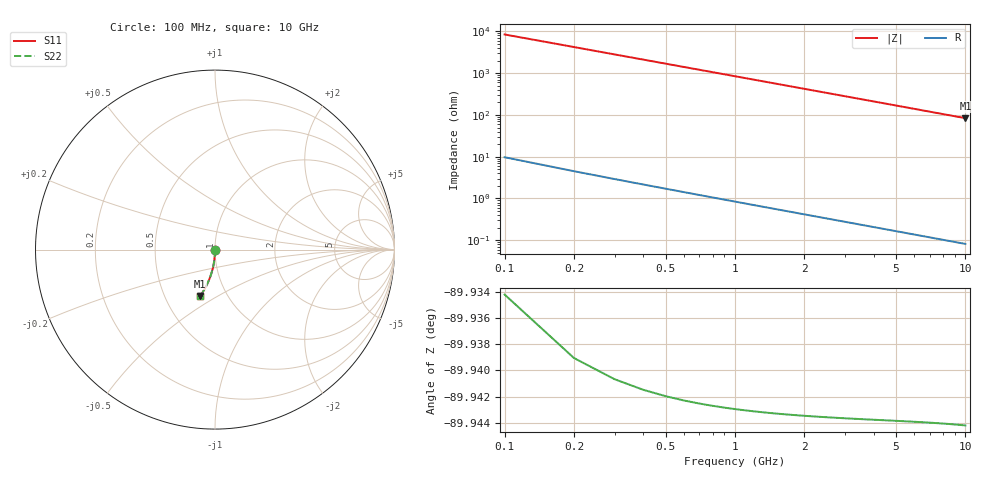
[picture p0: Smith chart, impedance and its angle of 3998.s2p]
# Hz S RI R 50.00
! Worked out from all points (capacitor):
!   100 points, 100 MHz to 10 GHz, reference 50 ohm
!   read as one part in shunt: C = 188 fF near 100 MHz
!   lowest |Z| = 83.8 ohm at 10 GHz (marker M1)
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1e8  2.36e-05 -0.00279  1 -0.00312  1 -0.00312  2.36e-05 -0.00279
2e8  -5.14e-06 -0.00558  0.9999 -0.00623  0.9999 -0.00623  -5.14e-06 -0.00558
3e8  -5.13e-05 -0.00837  0.9999 -0.00935  0.9999 -0.00935  -5.13e-05 -0.00837
4e8  -0.000115 -0.0112  0.9998 -0.0125  0.9998 -0.0125  -0.000115 -0.0112
5e8  -0.000196 -0.0139  0.9997 -0.0156  0.9997 -0.0156  -0.000196 -0.0139
6e8  -0.000294 -0.0167  0.9996 -0.0187  0.9996 -0.0187  -0.000294 -0.0167
7e8  -0.00041 -0.0195  0.9995 -0.0218  0.9995 -0.0218  -0.00041 -0.0195
8e8  -0.000544 -0.0223  0.9994 -0.0249  0.9994 -0.0249  -0.000544 -0.0223
9e8  -0.000694 -0.0251  0.9992 -0.028  0.9992 -0.028  -0.000694 -0.0251
1.1e9  -0.00105 -0.0307  0.9989 -0.0343  0.9989 -0.0343  -0.00105 -0.0307
1.4e9  -0.00171 -0.039  0.9982 -0.0436  0.9982 -0.0436  -0.00171 -0.039
1.8e9  -0.00283 -0.0501  0.9971 -0.056  0.9971 -0.056  -0.00283 -0.0501
2.1e9  -0.00386 -0.0585  0.996 -0.0654  0.996 -0.0654  -0.00386 -0.0585
2.5e9  -0.00547 -0.0695  0.9944 -0.0777  0.9944 -0.0777  -0.00547 -0.0695
2.9e9  -0.00735 -0.0805  0.9925 -0.0901  0.9925 -0.0901  -0.00735 -0.0805
3.4e9  -0.0101 -0.0942  0.9898 -0.1054  0.9898 -0.1054  -0.0101 -0.0942
4.2e9  -0.0154 -0.1159  0.9845 -0.1297  0.9845 -0.1297  -0.0154 -0.1159
5.1e9  -0.0225 -0.1398  0.9772 -0.1567  0.9772 -0.1567  -0.0225 -0.1398
5.9e9  -0.03 -0.1607  0.9697 -0.1802  0.9697 -0.1802  -0.03 -0.1607
6.7e9  -0.0384 -0.181  0.9612 -0.2033  0.9612 -0.2033  -0.0384 -0.181
8.4e9  -0.0594 -0.2222  0.9402 -0.2503  0.9402 -0.2503  -0.0594 -0.2222
1e10  -0.0824 -0.2582  0.917 -0.2917  0.917 -0.2917  -0.0824 -0.2582
